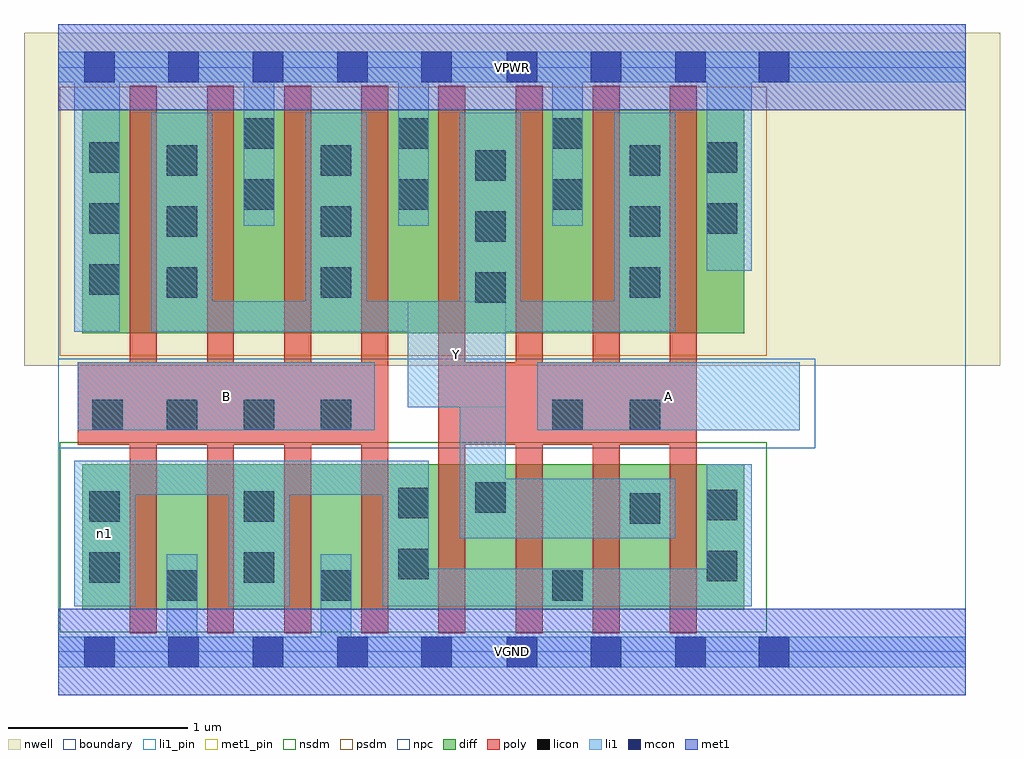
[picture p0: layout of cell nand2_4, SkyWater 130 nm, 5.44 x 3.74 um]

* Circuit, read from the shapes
.subckt nand2_4 A B VGND VPWR Y n1
XM1 VGND B n1 VSUBS sky130_fd_pr__nfet_01v8 w=0.81 l=0.15 m=4
XM2 Y A n1 VSUBS sky130_fd_pr__nfet_01v8 w=0.81 l=0.15 m=4
XM3 Y B VPWR n2 sky130_fd_pr__pfet_01v8 w=1.25 l=0.15 m=4
XM4 Y A VPWR n2 sky130_fd_pr__pfet_01v8 w=1.25 l=0.15 m=4
.ends

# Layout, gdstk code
import gdstk
lib = gdstk.Library(unit=1e-6, precision=1e-09)
def R(c, l, rs):  # rectangles x0, y0, x1, y1
    for r in rs: c.add(gdstk.rectangle(r[:2], r[2:], *l))
def A(c, l, x, y, w, h, nx, ny, dx, dy):  # array of equal rectangles
    R(c, l, [(x+i*dx, y+j*dy, x+i*dx+w, y+j*dy+h) for i in range(nx) for j in range(ny)])
nwell = (64, 20)
diff = (65, 20)
poly = (66, 20)
licon = (66, 44)
li1_pin = (67, 16)
li1 = (67, 20)
mcon = (67, 44)
met1_pin = (68, 16)
met1 = (68, 20)
nsdm = (93, 44)
psdm = (94, 20)
npc = (95, 20)
boundary = (235, 4)

nand2_4 = lib.new_cell('nand2_4')
R(nand2_4, nwell, [(-0.19,1.595,5.25,3.45), (0,1.595,5.06,3.45)])
R(nand2_4, diff, [(0.135,0.235,3.825,1.045), (0.135,1.775,3.825,3.025)])
A(nand2_4, poly, 0.4, 0.105, 0.15, 3.05, 8, 1, 0.43, 0)
R(nand2_4, poly, [(0.11,1.155,1.84,1.615), (2.12,1.155,3.56,1.615)])
A(nand2_4, licon, 0.605, 1.235, 0.17, 0.17, 3, 1, 0.43, 0)
A(nand2_4, licon, 2.325, 1.945, 0.17, 0.17, 1, 3, 0, 0.34)
A(nand2_4, licon, 0.605, 1.975, 0.17, 0.17, 1, 3, 0, 0.34)
A(nand2_4, licon, 1.465, 1.975, 0.17, 0.17, 1, 3, 0, 0.34)
A(nand2_4, licon, 3.185, 1.975, 0.17, 0.17, 1, 3, 0, 0.34)
A(nand2_4, licon, 0.175, 1.99, 0.17, 0.17, 1, 3, 0, 0.34)
A(nand2_4, licon, 1.035, 2.465, 0.17, 0.17, 3, 2, 0.86, 0.34)
R(nand2_4, licon, [(0.605,0.285,0.775,0.455), (1.465,0.285,1.635,0.455), (2.755,0.285,2.925,0.455), (0.175,0.385,0.345,0.555), (1.035,0.385,1.205,0.555), (3.615,0.395,3.785,0.565), (1.895,0.405,2.065,0.575), (3.185,0.715,3.355,0.885), (0.175,0.725,0.345,0.895), (1.035,0.725,1.205,0.895), (3.615,0.735,3.785,0.905), (1.895,0.745,2.065,0.915), (2.325,0.775,2.495,0.945), (0.19,1.235,0.36,1.405), (2.755,1.235,2.925,1.405), (3.185,1.235,3.355,1.405), (3.615,2.33,3.785,2.5), (3.615,2.67,3.785,2.84)])
R(nand2_4, li1_pin, [(0.11,1.235,1.765,1.615), (2.67,1.235,4.135,1.615), (1.95,1.365,2.495,1.955)])
A(nand2_4, li1, 0.52, 1.785, 0.34, 1.22, 4, 1, 0.86, 0)
A(nand2_4, li1, 1.035, 2.375, 0.17, 0.97, 3, 1, 0.86, 0)
R(nand2_4, li1, [(0,-0.085,5.06,0.085), (0.605,-0.085,0.775,0.545), (1.465,-0.085,1.635,0.545), (0.09,0.255,0.43,1.065), (0.95,0.255,1.29,1.065), (1.81,0.255,3.865,0.465), (1.81,0.255,2.065,1.065), (3.615,0.255,3.865,1.045), (2.24,0.635,2.495,3.005), (2.24,0.635,3.44,0.965), (0.09,0.875,2.065,1.065), (0.11,1.235,1.765,1.615), (2.67,1.235,4.135,1.615), (1.95,1.365,2.495,1.955), (0.09,1.785,0.345,3.345), (0.52,1.785,3.44,1.955), (3.615,2.125,3.865,3.345), (0,3.175,5.06,3.345)])
A(nand2_4, mcon, 0.145, -0.085, 0.17, 0.17, 5, 2, 0.47, 3.26)
A(nand2_4, mcon, 2.5, -0.085, 0.17, 0.17, 3, 2, 0.47, 3.26)
R(nand2_4, mcon, [(3.905,-0.085,4.075,0.085), (3.905,3.175,4.075,3.345)])
R(nand2_4, met1_pin, [(0,-0.24,5.06,0.24), (0,3.02,5.06,3.5)])
R(nand2_4, met1, [(0,-0.24,5.06,0.24), (0,3.02,5.06,3.5)])
R(nand2_4, nsdm, [(0.01,0.11,3.95,1.17)])
R(nand2_4, psdm, [(0.01,1.65,3.95,3.15)])
R(nand2_4, npc, [(0,1.135,4.22,1.635)])
R(nand2_4, boundary, [(0,0,5.06,3.26)])
nand2_4.add(gdstk.Label('A', (3.402,1.425), layer=67, texttype=5))
nand2_4.add(gdstk.Label('B', (0.937,1.425), layer=67, texttype=5))
nand2_4.add(gdstk.Label('Y', (2.222,1.66), layer=67, texttype=5))
nand2_4.add(gdstk.Label('n1', (0.26,0.66), layer=67, texttype=5))
nand2_4.add(gdstk.Label('VPWR', (2.53,3.26), layer=68, texttype=5))
nand2_4.add(gdstk.Label('VGND', (2.53,0), layer=68, texttype=5))
nand2_4.add(gdstk.Label('A', (3.402,1.425), layer=67, texttype=16))
nand2_4.add(gdstk.Label('B', (0.937,1.425), layer=67, texttype=16))
nand2_4.add(gdstk.Label('Y', (2.222,1.66), layer=67, texttype=16))
nand2_4.add(gdstk.Label('VPWR', (2.53,3.26), layer=68, texttype=16))
nand2_4.add(gdstk.Label('VGND', (2.53,0), layer=68, texttype=16))

lib.write_gds('nand2_4.gds')
